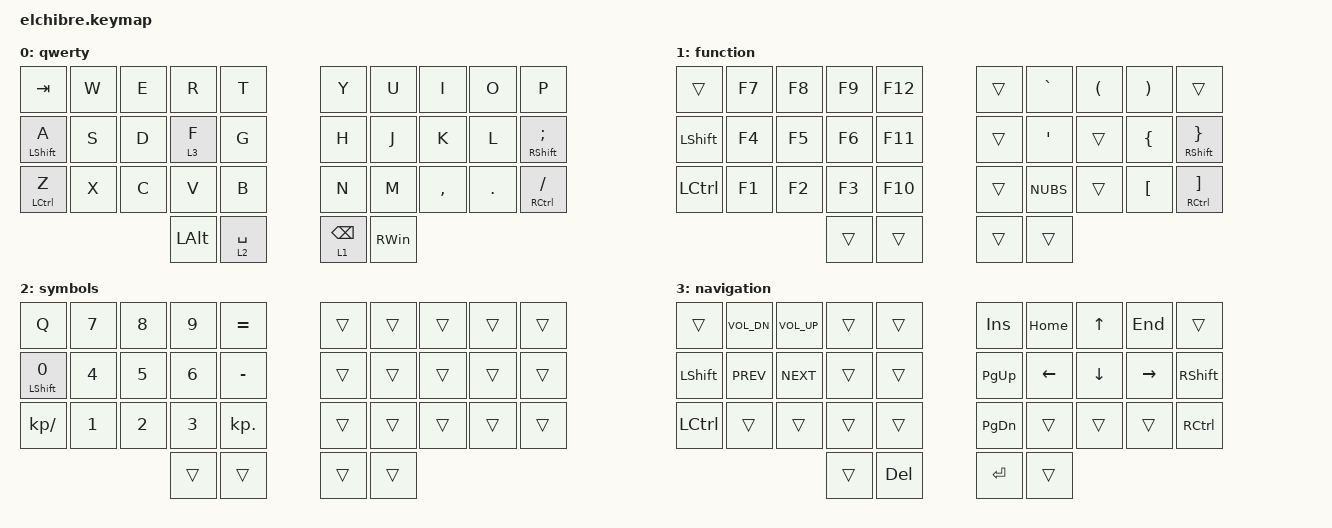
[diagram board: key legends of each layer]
#include <behaviors.dtsi>
#include <dt-bindings/zmk/bt.h>
#include <dt-bindings/zmk/keys.h>
#include <dt-bindings/zmk/outputs.h>

&lt {
    tapping-term-ms = <120>;
    flavor = "balanced";
};

&mt {
    tapping-term-ms = <120>;
    flavor = "balanced";
};

/ {
    combos {
        compatible = "zmk,combos";
        combo_esc {
            timeout-ms = <27>;
            key-positions = <0 1>;
            bindings = <&kp ESC>;
        };
        combo_enter {
            timeout-ms = <27>;
            key-positions = <17 18>;
            bindings = <&kp ENTER>;
        };
    };
};

/ {
    keymap {
        compatible = "zmk,keymap";

        qwerty {
            bindings = <
                &kp TAB      &kp W  &kp E  &kp R    &kp T     &kp Y &kp U &kp I     &kp O      &kp P
                &mt LSHIFT A &kp S  &kp D  &lt 3 F  &kp G     &kp H &kp J &kp K     &kp L      &mt RSHIFT SEMI
                &mt LCTRL Z  &kp X  &kp C  &kp V    &kp B     &kp N &kp M &kp COMMA &kp PERIOD &mt RCTRL SLASH
                             &kp LALT         &lt 2 SPACE     &lt 1 BACKSPACE       &kp RWIN
            >;
        };

        function {
            bindings = <
                &trans    &kp F7 &kp F8 &kp F9 &kp F12          &trans &kp GRAVE &kp LPAR &kp RPAR &trans
                &kp LSHFT &kp F4 &kp F5 &kp F6 &kp F11          &trans &kp SQT   &trans   &kp LBRC &mt RSHIFT RBRC
                &kp LCTRL &kp F1 &kp F2 &kp F3 &kp F10          &trans &kp NUBS  &trans   &kp LBKT &mt RCTRL RBKT
                              &trans         &trans             &trans         &trans
            >;
        };

        symbols {
            bindings = <
                &kp Q         &kp N7 &kp N8 &kp N9 &kp EQUAL       &trans &trans &trans &trans &trans
                &mt LSHIFT N0 &kp N4 &kp N5 &kp N6 &kp MINUS       &trans &trans &trans &trans &trans
                &kp KP_SLASH  &kp N1 &kp N2 &kp N3 &kp KP_DOT      &trans &trans &trans &trans &trans
                                       &trans          &trans      &trans   &trans
            >;
        };

        navigation {
            bindings = <
                &trans    &kp C_VOL_DN &kp C_VOL_UP &trans &trans          &kp INS   &kp HOME &kp UP   &kp END   &trans
                &kp LSHFT &kp C_PREV   &kp C_NEXT   &trans &trans          &kp PG_UP &kp LEFT &kp DOWN &kp RIGHT &kp RSHFT
                &kp LCTRL &trans       &trans       &trans &trans          &kp PG_DN &trans   &trans   &trans    &kp RCTRL
                                       &trans              &kp DEL         &kp ENTER    &trans
            >;
        };
    };
};
